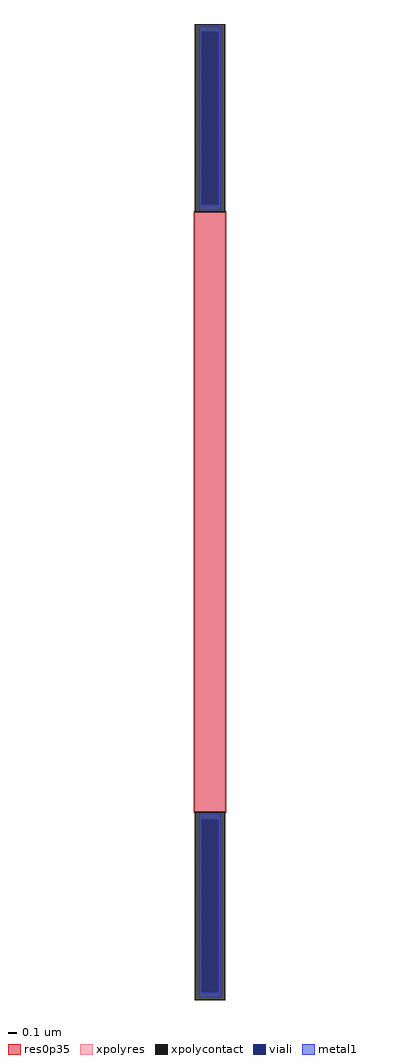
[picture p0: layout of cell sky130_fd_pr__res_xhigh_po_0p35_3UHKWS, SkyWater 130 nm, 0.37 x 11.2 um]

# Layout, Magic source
magic
tech sky130A
magscale 1 2
<< xpolycontact >>
rect -35 688 35 1120
rect -35 -1120 35 -688
<< xpolyres >>
rect -35 -688 35 688
<< viali >>
rect -19 705 19 1102
rect -19 -1102 19 -705
<< metal1 >>
rect -25 1102 25 1114
rect -25 705 -19 1102
rect 19 705 25 1102
rect -25 693 25 705
rect -25 -705 25 -693
rect -25 -1102 -19 -705
rect 19 -1102 25 -705
rect -25 -1114 25 -1102
<< res0p35 >>
rect -37 -690 37 690
<< properties >>
string gencell sky130_fd_pr__res_xhigh_po_0p35
string parameters w 0.350 l 6.88 m 1 nx 1 wmin 0.350 lmin 0.50 rho 2000 val 40.0k dummy 0 dw 0.0 term 120 sterm 0.0 caplen 0 wmax 0.350 guard 0 glc 0 grc 0 gtc 0 gbc 0 compatible {sky130_fd_pr__res_xhigh_po_0p35  sky130_fd_pr__res_xhigh_po_0p69 sky130_fd_pr__res_xhigh_po_1p41  sky130_fd_pr__res_xhigh_po_2p85 sky130_fd_pr__res_xhigh_po_5p73} full_metal 0 vias 1 viagb 0 viagt 0 viagl 0 viagr 0
string library sky130
<< end >>
